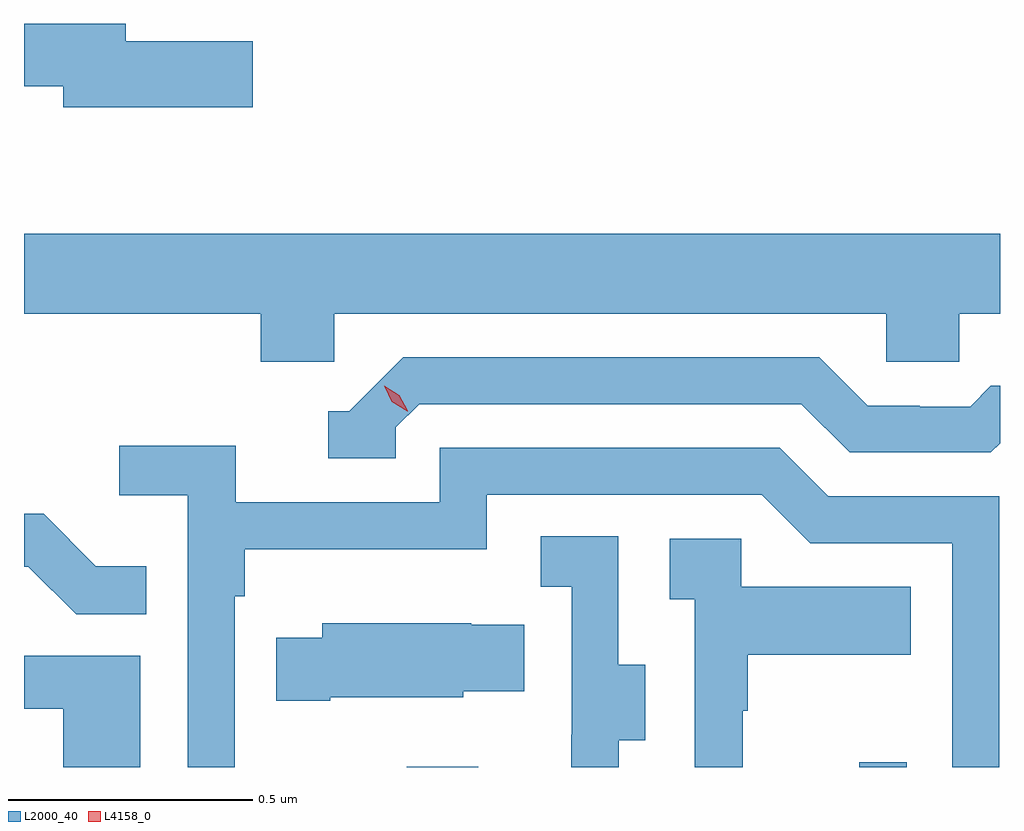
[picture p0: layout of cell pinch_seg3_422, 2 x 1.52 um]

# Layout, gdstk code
import gdstk
lib = gdstk.Library(unit=1e-6, precision=1e-09)
def R(c, l, rs):  # rectangles x0, y0, x1, y1
    for r in rs: c.add(gdstk.rectangle(r[:2], r[2:], *l))
def P(c, l, *ps):  # polygons
    for p in ps: c.add(gdstk.Polygon(p, *l))
L2000_40 = (2000, 40)
L4158_0 = (4158, 0)

pinch_seg3_422 = lib.new_cell('pinch_seg3_422')
R(pinch_seg3_422, L2000_40, [(928.174,702.651,928.321,702.652), (929.102,702.651,929.199,702.661)])
P(pinch_seg3_422, L2000_40, [(927.859,704.138),(927.598,704.138),(927.598,704.174),(927.39,704.174),(927.39,704.046),(927.47,704.046),(927.47,704.003),(927.859,704.003)],
  [(928.026,703.58),(929.157,703.58),(929.157,703.482),(929.307,703.482),(929.307,703.58),(929.39,703.58),(929.39,703.744),(927.39,703.744),(927.39,703.58),(927.875,703.58),(927.875,703.482),(928.026,703.482)],
  [(928.152,703.347),(928.2,703.395),(928.983,703.395),(929.082,703.296),(929.371,703.296),(929.39,703.315),(929.39,703.432),(929.371,703.432),(929.329,703.389),(929.226,703.389),(929.226,703.392),(929.119,703.392),(929.02,703.491),(928.167,703.491),(928.056,703.38),(928.013,703.38),(928.013,703.284),(928.152,703.284)],
  [(927.822,703.001),(927.842,703.001),(927.842,703.097),(928.338,703.097),(928.338,703.209),(928.902,703.209),(929.001,703.11),(929.292,703.11),(929.292,702.651),(929.388,702.651),(929.388,703.206),(929.038,703.206),(928.939,703.305),(928.242,703.305),(928.242,703.194),(927.824,703.194),(927.824,703.31),(927.585,703.31),(927.585,703.208),(927.726,703.208),(927.726,702.651),(927.822,702.651)],
  [(927.641,703.063),(927.537,703.063),(927.43,703.17),(927.39,703.17),(927.39,703.062),(927.399,703.062),(927.497,702.964),(927.641,702.964)],
  [(928.609,702.706),(928.663,702.706),(928.663,702.861),(928.608,702.861),(928.608,703.124),(928.449,703.124),(928.449,703.021),(928.512,703.021),(928.512,702.717),(928.511,702.717),(928.511,702.651),(928.609,702.651)],
  [(928.863,702.767),(928.873,702.767),(928.873,702.881),(929.207,702.881),(929.207,703.021),(928.86,703.021),(928.86,703.119),(928.713,703.119),(928.713,702.995),(928.764,702.995),(928.764,702.651),(928.863,702.651)],
  [(928.018,702.794),(928.29,702.794),(928.29,702.806),(928.415,702.806),(928.415,702.943),(928.307,702.943),(928.307,702.946),(928.001,702.946),(928.001,702.916),(927.907,702.916),(927.907,702.787),(928.018,702.787)],
  [(927.628,702.879),(927.39,702.879),(927.39,702.771),(927.47,702.771),(927.47,702.651),(927.628,702.651)])
P(pinch_seg3_422, L4158_0, [(928.175,703.38),(928.144,703.4),(928.128,703.432),(928.128,703.432),(928.128,703.432),(928.159,703.413),(928.176,703.381),(928.176,703.38)])

lib.write_gds('pinch_seg3_422.gds')
